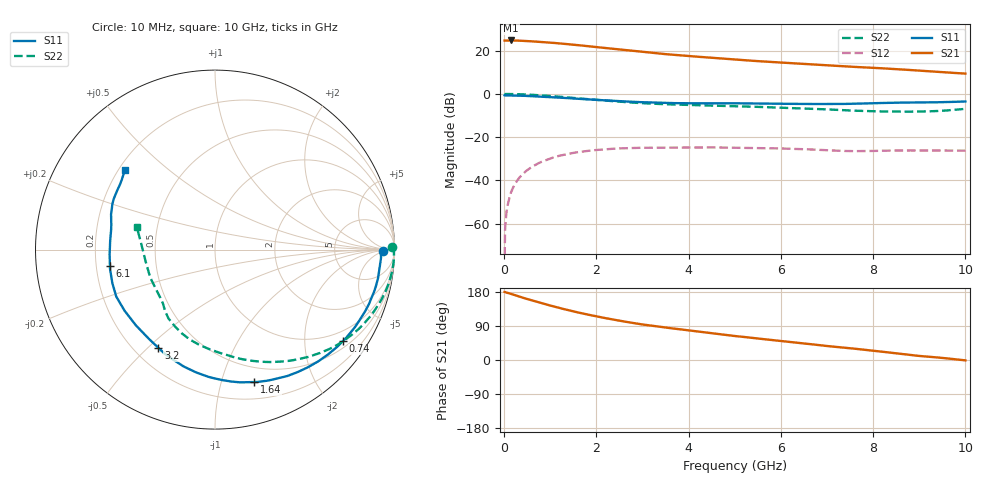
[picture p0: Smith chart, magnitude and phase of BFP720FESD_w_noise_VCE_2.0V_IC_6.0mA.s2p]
! Infineon Technologies  Discrete & RF Semiconductors
! BFP720FESD
! VCE =  2.0 V,  IC =  6.0 mA
! Common Emitter S-Parameters:  Jan 2016
# GHz  S  MA  R  50
!  f  S11  S21  S12  S22
! GHz  MAG  ANG  MAG  ANG  MAG  ANG  MAG  ANG
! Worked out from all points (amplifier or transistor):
!   233 points, 10 MHz to 10 GHz, reference 50 ohm
!   highest |S21| = 24.8 dB at 150 MHz (marker M1)
!   |S21| within 3 dB of that: start of sweep to 1.974 GHz
!   lowest NFmin = 0.55 dB at 450 MHz
!   S11 on the Smith chart (normalised r, x): 10 MHz: 29, -3; 740 MHz: 0.68, -2.98; 1.64 GHz: 0.35, -1.28; 3.2 GHz: 0.30, -0.54; 6.1 GHz: 0.26, -0.07; 10 GHz: 0.22, +0.36
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0.01  0.9351 -0.4  17.21 179.6  0 0.0  0.9889 0.8
0.02  0.9241 -1.0  17.21 179.3  0.0007 87.0  0.9971 -0.5
0.03  0.9249 -1.5  17.2 178.8  0.0011 90.0  0.9973 -0.9
0.15  0.9221 -7.5  17.32 174.3  0.0053 86.0  0.9967 -5.0
0.3  0.9169 -14.8  17.17 168.4  0.0105 81.2  0.9881 -10.1
0.5  0.9001 -24.4  16.78 160.8  0.0173 75.2  0.9691 -16.6
0.74  0.8762 -35.6  16.16 152.4  0.0248 67.9  0.9376 -24.1
0.94  0.8539 -44.6  15.59 145.6  0.0305 62.5  0.9073 -30.2
1.2  0.8232 -56.0  14.81 137.3  0.0372 55.7  0.8638 -37.9
1.64  0.7695 -73.6  13.36 124.4  0.0456 45.0  0.7861 -49.8
1.68  0.7647 -75.1  13.23 123.4  0.0463 44.2  0.7796 -50.8
2.02  0.7284 -86.7  12.11 114.7  0.0507 37.5  0.7274 -59.0
2.4  0.692 -98.8  11.01 105.9  0.0543 30.9  0.6761 -67.6
2.82  0.6556 -111.0  9.88 97.1  0.0563 24.6  0.6278 -76.3
3.2  0.6317 -119.9  8.985 90.7  0.057 20.2  0.5972 -82.2
3.4  0.6222 -124.3  8.559 87.3  0.0572 18.3  0.5846 -85.1
4.4  0.6071 -144.0  7.012 72.1  0.058 10.7  0.5419 -97.8
5.1  0.607 -156.0  6.16 62.1  0.057 6.1  0.5165 -106.7
6.1  0.5924 -171.1  5.271 48.9  0.0544 1.2  0.4786 -118.7
6.8  0.5856 178.0  4.756 39.7  0.051 -0.6  0.4484 -127.2
8.4  0.6258 155.9  3.816 19.0  0.049 4.6  0.3926 -153.8
10  0.6706 138.4  2.962 -1.0  0.0488 5.1  0.4523 164.2
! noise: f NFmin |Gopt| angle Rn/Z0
0.45  0.55  0.51  3  0.14
2.4  0.67  0.32  30  0.15
5.5  0.83  0.37  108  0.1
10  1.36  0.31  -161  0.09
